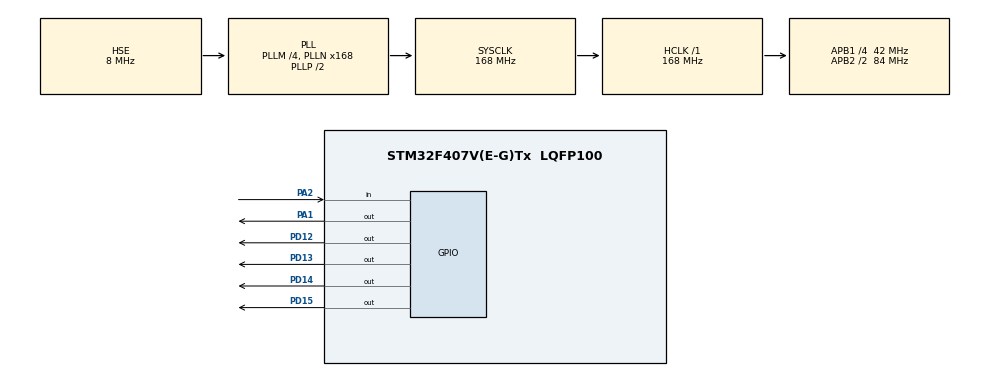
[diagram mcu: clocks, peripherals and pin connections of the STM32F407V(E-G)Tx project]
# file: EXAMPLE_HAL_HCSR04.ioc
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Mcu.Family=STM32F4
Mcu.Name=STM32F407V(E-G)Tx
Mcu.Package=LQFP100
NVIC.PriorityGroup=NVIC_PRIORITYGROUP_4
PA1.Signal=GPIO_Output
PA2.Signal=GPIO_Input
PD12.Signal=GPIO_Output
PD13.Signal=GPIO_Output
PD14.Signal=GPIO_Output
PD15.Signal=GPIO_Output
PH0-OSC_IN.Mode=HSE-External-Oscillator
PH0-OSC_IN.Signal=RCC_OSC_IN
PH1-OSC_OUT.Mode=HSE-External-Oscillator
PH1-OSC_OUT.Signal=RCC_OSC_OUT
ProjectManager.HeapSize=0x200
ProjectManager.StackSize=0x400
ProjectManager.TargetToolchain=STM32CubeIDE
RCC.48MHZClocksFreq_Value=84000000
RCC.AHBFreq_Value=168000000
RCC.APB1CLKDivider=RCC_HCLK_DIV4
RCC.APB1Freq_Value=42000000
RCC.APB1TimFreq_Value=84000000
RCC.APB2CLKDivider=RCC_HCLK_DIV2
RCC.APB2Freq_Value=84000000
RCC.APB2TimFreq_Value=168000000
RCC.CortexFreq_Value=168000000
RCC.HCLKFreq_Value=168000000
RCC.HSE_VALUE=8000000
RCC.HSI_VALUE=16000000
RCC.LSE_VALUE=32768
RCC.PLLM=4
RCC.PLLN=168
RCC.PLLSourceVirtual=RCC_PLLSOURCE_HSE
RCC.SYSCLKFreq_VALUE=168000000
RCC.SYSCLKSource=RCC_SYSCLKSOURCE_PLLCLK
RCC.VCOOutputFreq_Value=336000000
board=custom

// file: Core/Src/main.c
/* USER CODE BEGIN Header */
/**
  ******************************************************************************
  * @file           : main.c
  * @brief          : Main program body
  ******************************************************************************
  * @attention
  *
  * <h2><center>&copy; Copyright (c) 2021 STMicroelectronics.
  * All rights reserved.</center></h2>
  *
  * This software component is licensed by ST under BSD 3-Clause license,
  * the "License"; You may not use this file except in compliance with the
  * License. You may obtain a copy of the License at:
  *                        opensource.org/licenses/BSD-3-Clause
  *
  ******************************************************************************
  */
/* USER CODE END Header */
#include "main.h"

// link
// https://stm32f4-discovery.net/2014/08/library-30-measure-distance-hc-sr04-stm32f4xx/

/* USER CODE BEGIN Includes */
#include "dwt_stm32_delay.h"
/* USER CODE END Includes */

/* USER CODE BEGIN PV */
	uint32_t time;
	uint16_t distance;

/* USER CODE END PV */

void SystemClock_Config(void);
static void MX_GPIO_Init(void);

/* USER CODE BEGIN 0 */

	uint32_t Read_HCSR04()
	{
		uint32_t local_time = 0;

		HAL_GPIO_WritePin(GPIOA, GPIO_PIN_1, GPIO_PIN_SET);
		DWT_Delay_us(10);
		HAL_GPIO_WritePin(GPIOA, GPIO_PIN_1, GPIO_PIN_RESET);

		while(!HAL_GPIO_ReadPin(GPIOA, GPIO_PIN_2));
00
		while(HAL_GPIO_ReadPin(GPIOA, GPIO_PIN_2))
		{
			local_time++;
			DWT_Delay_us(1);
		}

		return local_time;
	}

/* USER CODE END 0 */

int main(void)
{

  /* MCU Configuration--------------------------------------------------------*/

  /* Reset of all peripherals, Initializes the Flash interface and the Systick. */
  HAL_Init();

  /* Configure the system clock */
  SystemClock_Config();

  /* Initialize all configured peripherals */
  MX_GPIO_Init();
  /* USER CODE BEGIN 2 */
  DWT_Delay_Init();
  /* USER CODE END 2 */

  /* Infinite loop */
  while (1)
  {

    /* USER CODE BEGIN 3 */

      /* Read distance from sensor 1 */
      /* Distance is returned in cm and also stored in structure */
	  time = Read_HCSR04();
	  distance = time / 58;

	  if(distance >=0 && distance <3)
	  {
		  HAL_GPIO_WritePin(GPIOD, GPIO_PIN_12, GPIO_PIN_SET);

		  HAL_GPIO_WritePin(GPIOD, GPIO_PIN_13, GPIO_PIN_RESET);
		  HAL_GPIO_WritePin(GPIOD, GPIO_PIN_14, GPIO_PIN_RESET);
		  HAL_GPIO_WritePin(GPIOD, GPIO_PIN_15, GPIO_PIN_RESET);

	  }

	  if(distance >=3 && distance <6)
	  {
		  HAL_GPIO_WritePin(GPIOD, GPIO_PIN_13, GPIO_PIN_SET);

		  HAL_GPIO_WritePin(GPIOD, GPIO_PIN_12, GPIO_PIN_RESET);
		  HAL_GPIO_WritePin(GPIOD, GPIO_PIN_14, GPIO_PIN_RESET);
		  HAL_GPIO_WritePin(GPIOD, GPIO_PIN_15, GPIO_PIN_RESET);

	  }

	  if(distance >=6 && distance <9)
	  {
		  HAL_GPIO_WritePin(GPIOD, GPIO_PIN_14, GPIO_PIN_SET);

		  HAL_GPIO_WritePin(GPIOD, GPIO_PIN_13, GPIO_PIN_RESET);
		  HAL_GPIO_WritePin(GPIOD, GPIO_PIN_12, GPIO_PIN_RESET);
		  HAL_GPIO_WritePin(GPIOD, GPIO_PIN_15, GPIO_PIN_RESET);

	  }

	  if(distance >=9 && distance <12)
	  {
		  HAL_GPIO_WritePin(GPIOD, GPIO_PIN_15, GPIO_PIN_SET);

		  HAL_GPIO_WritePin(GPIOD, GPIO_PIN_13, GPIO_PIN_RESET);
		  HAL_GPIO_WritePin(GPIOD, GPIO_PIN_14, GPIO_PIN_RESET);
		  HAL_GPIO_WritePin(GPIOD, GPIO_PIN_12, GPIO_PIN_RESET);

	  }

  }
  /* USER CODE END 3 */
}

void SystemClock_Config(void)
{
  RCC_OscInitTypeDef RCC_OscInitStruct = {0};
  RCC_ClkInitTypeDef RCC_ClkInitStruct = {0};

  /** Configure the main internal regulator output voltage
  */
  __HAL_RCC_PWR_CLK_ENABLE();
  __HAL_PWR_VOLTAGESCALING_CONFIG(PWR_REGULATOR_VOLTAGE_SCALE1);
  /** Initializes the RCC Oscillators according to the specified parameters
  * in the RCC_OscInitTypeDef structure.
  */
  RCC_OscInitStruct.OscillatorType = RCC_OSCILLATORTYPE_HSE;
  RCC_OscInitStruct.HSEState = RCC_HSE_ON;
  RCC_OscInitStruct.PLL.PLLState = RCC_PLL_ON;
  RCC_OscInitStruct.PLL.PLLSource = RCC_PLLSOURCE_HSE;
  RCC_OscInitStruct.PLL.PLLM = 4;
  RCC_OscInitStruct.PLL.PLLN = 168;
  RCC_OscInitStruct.PLL.PLLP = RCC_PLLP_DIV2;
  RCC_OscInitStruct.PLL.PLLQ = 4;
  if (HAL_RCC_OscConfig(&RCC_OscInitStruct) != HAL_OK)
  {
    Error_Handler();
  }
  /** Initializes the CPU, AHB and APB buses clocks
  */
  RCC_ClkInitStruct.ClockType = RCC_CLOCKTYPE_HCLK|RCC_CLOCKTYPE_SYSCLK
                              |RCC_CLOCKTYPE_PCLK1|RCC_CLOCKTYPE_PCLK2;
  RCC_ClkInitStruct.SYSCLKSource = RCC_SYSCLKSOURCE_PLLCLK;
  RCC_ClkInitStruct.AHBCLKDivider = RCC_SYSCLK_DIV1;
  RCC_ClkInitStruct.APB1CLKDivider = RCC_HCLK_DIV4;
  RCC_ClkInitStruct.APB2CLKDivider = RCC_HCLK_DIV2;

  if (HAL_RCC_ClockConfig(&RCC_ClkInitStruct, FLASH_LATENCY_5) != HAL_OK)
  {
    Error_Handler();
  }
}

static void MX_GPIO_Init(void)
{
  GPIO_InitTypeDef GPIO_InitStruct = {0};

  /* GPIO Ports Clock Enable */
  __HAL_RCC_GPIOH_CLK_ENABLE();
  __HAL_RCC_GPIOA_CLK_ENABLE();
  __HAL_RCC_GPIOD_CLK_ENABLE();

  /*Configure GPIO pin Output Level */
  HAL_GPIO_WritePin(GPIOA, GPIO_PIN_1, GPIO_PIN_RESET);

  /*Configure GPIO pin Output Level */
  HAL_GPIO_WritePin(GPIOD, GPIO_PIN_12|GPIO_PIN_13|GPIO_PIN_14|GPIO_PIN_15, GPIO_PIN_RESET);

  /*Configure GPIO pin : PA1 */
  GPIO_InitStruct.Pin = GPIO_PIN_1;
  GPIO_InitStruct.Mode = GPIO_MODE_OUTPUT_PP;
  GPIO_InitStruct.Pull = GPIO_NOPULL;
  GPIO_InitStruct.Speed = GPIO_SPEED_FREQ_LOW;
  HAL_GPIO_Init(GPIOA, &GPIO_InitStruct);

  /*Configure GPIO pin : PA2 */
  GPIO_InitStruct.Pin = GPIO_PIN_2;
  GPIO_InitStruct.Mode = GPIO_MODE_INPUT;
  GPIO_InitStruct.Pull = GPIO_NOPULL;
  HAL_GPIO_Init(GPIOA, &GPIO_InitStruct);

  /*Configure GPIO pins : PD12 PD13 PD14 PD15 */
  GPIO_InitStruct.Pin = GPIO_PIN_12|GPIO_PIN_13|GPIO_PIN_14|GPIO_PIN_15;
  GPIO_InitStruct.Mode = GPIO_MODE_OUTPUT_PP;
  GPIO_InitStruct.Pull = GPIO_NOPULL;
  GPIO_InitStruct.Speed = GPIO_SPEED_FREQ_LOW;
  HAL_GPIO_Init(GPIOD, &GPIO_InitStruct);

}

void Error_Handler(void)
{
  __disable_irq();
  while (1)
  {
  }
}

/************************ (C) COPYRIGHT STMicroelectronics *****END OF FILE****/
